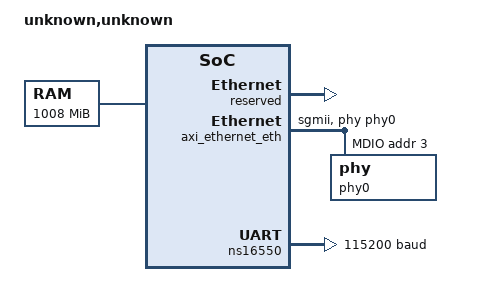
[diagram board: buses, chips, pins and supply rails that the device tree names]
/*
 * Copyright (c) 2025, Capabilities Ltd <heshamalmatary@capabilitieslimited.co.uk>
 *
 * SPDX-License-Identifier: BSD-3-Clause
 */

/dts-v1/;
/ {
 #address-cells = <1>;
 #size-cells = <1>;
 compatible = "unknown,unknown";
 model = "unknown,unknown";
 sri-cambridge,version = "d3dcba9d1bef3fd373e0e973a00a92e201f14cde"; chosen {

  bootargs = "earlyprintk console=ttyS0,115200 loglevel=15";
  stdout-path = &ns16550;
 };
 cpus {
  #address-cells = <1>;
  #size-cells = <0>;
  timebase-frequency = <25000000>;
  CPU0: cpu@0 { device_type = "cpu"; reg = <0>; status = "okay"; compatible = "riscv"; riscv,isa = "rv64imafdc"; mmu-type = "riscv,sv39"; clock-frequency = <25000000>; sri-cambridge,version = "0"; CPU0_intc: interrupt-controller { #interrupt-cells = <1>; interrupt-controller; compatible = "riscv,cpu-intc"; }; };
  CPU1: cpu@1 { device_type = "cpu"; reg = <1>; status = "okay"; compatible = "riscv"; riscv,isa = "rv64imafdc"; mmu-type = "riscv,sv39"; clock-frequency = <25000000>; sri-cambridge,version = "0"; CPU1_intc: interrupt-controller { #interrupt-cells = <1>; interrupt-controller; compatible = "riscv,cpu-intc"; }; };
 };
 memory {
  device_type = "memory";
  reg = <0xC0000000 0x3f000000>;
 };
 reserved-memory {
  #address-cells = <1>;
  #size-cells = <1>;
  ranges;

  reserved: ethernet@62100000 {
   compatible = "shared-dma-pool";
   no-map;
   reg = <0x80000000 0x20000000>;
  };
  1,dma {
   compatible = "shared-dma-pool";
   reg = <0xa0000000 0x20000000>;
   1,dma-default;
   no-map;
  };
 };
 soc {
  #address-cells = <1>;
  #size-cells = <1>;
  compatible = "simple-bus";
  ranges;
  clint@10000000 {
   compatible = "riscv,clint0";
   interrupts-extended = <&CPU0_intc 3 &CPU0_intc 7 &CPU1_intc 3 &CPU1_intc 7>;
   reg = <0x10000000 0x10000>;
  };
  plic: interrupt-controller@c000000 {
   #interrupt-cells = <1>;
   compatible = "riscv,plic0";
   interrupt-controller;
   interrupts-extended = <
    &CPU0_intc 11 &CPU0_intc 9
    &CPU1_intc 11 &CPU1_intc 9
    >;
   reg = <0xc000000 0x400000>;
   reg-names = "control";
   riscv,max-priority = <7>;
   riscv,ndev = <16>;
  };
  axi_ethernet_eth: ethernet@62100000 {
   compatible = "xlnx,axi-ethernet-7.01.a", "xlnx,axi-ethernet-1.00.a";
   memory-region = <&reserved>;
   device_type = "network";
   interrupts-extended = <&plic 2>;
   axistream-connected = <&axi_dma>;
   axistream-connected-control = <&axi_dma>;
   phy-mode = "sgmii";
   reg = <0x62100000 0x40000>;
   xlnx,rxcsum = <0x2>;
   xlnx,rxmem = <0x1000>;
   xlnx,txcsum = <0x2>;
   xlnx,phy-type = <0x4>;
   phy-handle = <&phy0>;
   xlnx,vcu118;
   local-mac-address = [00 0a 35 04 db 5a];
   clock-frequency = <25000000>;
   axi_ethernet_mdio: mdio {
    #address-cells = <1>;
    #size-cells = <0>;
    phy0: phy@3 {
          device_type = "ethernet-phy";
          ti,fifo-depth = <1>;
          reg = <3>;
    };
   };
  };
  axi_dma: dma@62200000 {
   #dma-cells = <1>;
   compatible = "xlnx,eth-dma";
   reg = <0x62200000 0x10000>;
   interrupts-extended = <&plic 3 &plic 4>;
   axistream-connected = <&axi_ethernet_eth>;
   axistream-connected-control = <&axi_ethernet_eth>;
  };
  ns16550: uart@62300000 {
   current-speed = <115200>;
   compatible = "ns16550a";
   interrupts-extended = <&plic 1>;
   reg = <0x62300000 0x1000>;
   clock-frequency = <25000000>;
   reg-shift = <2>;
  };
 };
};
